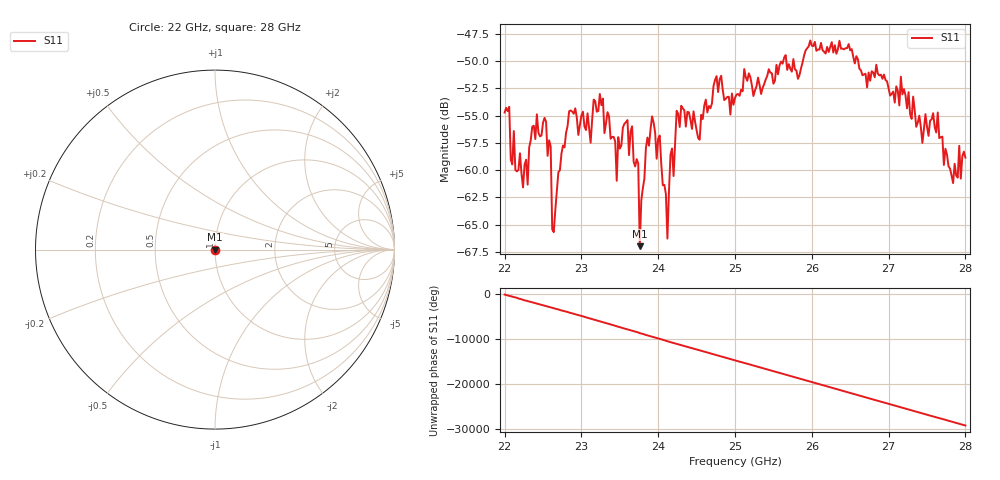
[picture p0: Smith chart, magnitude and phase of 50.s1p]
#  HZ  S  RI  R  50.00
! Rohde & Schwarz ZVA40 4Ports - Version 3.90 - 1145.1110k42 SN: 100403
! Date: 2023-10-04 07:38:18
! Measurement: S12
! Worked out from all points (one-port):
!   301 points, 22 GHz to 28 GHz, reference 50 ohm
!   lowest |S11| = -67.0 dB at 23.76 GHz (marker M1), VSWR 1.00, Z = 50 - j0.0103 ohm
!   |S11| at or under -10 dB: start of sweep to end of sweep
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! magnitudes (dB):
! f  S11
! 22 GHz  -54.7
! 22.24 GHz  -61.6
! 22.52 GHz  -55.2
! 22.6 GHz  -57.8
! 22.62 GHz  -65.4
! 22.64 GHz  -65.7
! 22.76 GHz  -57.7
! 23.12 GHz  -57.5
! 23.24 GHz  -53.0
! 23.46 GHz  -61.0
! 23.5 GHz  -58.0
! 23.66 GHz  -56.0
! 23.74 GHz  -59.4
! 23.76 GHz  -67.0
! 23.92 GHz  -55.1
! 24.02 GHz  -56.8
! 24.12 GHz  -66.3
! 24.16 GHz  -58.6
! 24.2 GHz  -60.5
! 24.26 GHz  -54.8
! 25 GHz  -53.4
! 25.76 GHz  -49.8
! 26.5 GHz  -49.0
! 27.26 GHz  -52.9
! 27.44 GHz  -57.5
! 27.64 GHz  -54.7
! 27.84 GHz  -61.2
! 28 GHz  -58.9
